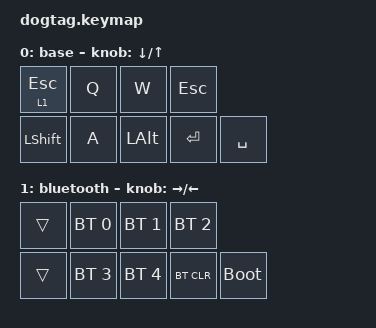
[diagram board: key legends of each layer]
/*
 * Copyright (c) 2026 The ZMK Contributors
 * SPDX-License-Identifier: MIT
 */

#include <behaviors.dtsi>
#include <dt-bindings/zmk/keys.h>
#include <dt-bindings/zmk/bt.h>

/ {
    keymap {
        compatible = "zmk,keymap";

        base {
            bindings = <
                &lt 1 ESC  &kp Q      &kp W      &kp ESC
                &kp LSHFT  &kp A      &kp LALT   &kp ENTER      &kp SPACE
            >;
            sensor-bindings = <&inc_dec_kp DOWN UP>;
        };

        bluetooth {
            bindings = <
                &trans  &bt BT_SEL 0  &bt BT_SEL 1  &bt BT_SEL 2
                &trans  &bt BT_SEL 3  &bt BT_SEL 4  &bt BT_CLR    &bootloader
            >;
            sensor-bindings = <&inc_dec_kp RIGHT LEFT>;
        };
    };
};
